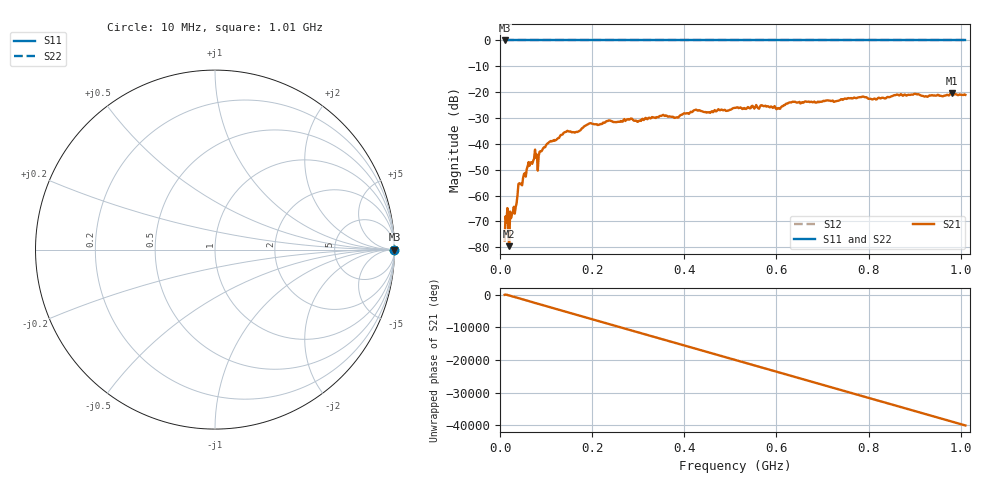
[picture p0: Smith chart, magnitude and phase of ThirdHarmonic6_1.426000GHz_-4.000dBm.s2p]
! 8/16/2025 4:25:00 PM
! C:\ANRITSUVNA\TEMP\TEMP.S2P
! CHANNEL.1
! TR.MEASUREMENT
! RAW.DATA
! RF.CORRECTION.OFF
! AVERAGING.OFF
! IF.BANDWIDTH: 5KHZ
! SWEEPTYPE:  FREQ.SWEEP(Linear)
! Reference Plane Port Info
! PORT:  PORT1  PORT2
! DISTANCE:  0  m  0  m
! TIME:  0  s  0  s
! PHASE.OFFSET:  0  deg.  0  deg.
! LOSS:  0  dB  0  dB
! REF.LOSS:  0  dB  0  dB
! REF.FREQ:  0  Hz  0  Hz
! Power Info
! POWER:  -20  dBm  -20  dBm
! EFF.POWER:  -20  dBm  -20  dBm
! SOURCE.ATTEN:  0  dB  0  dB
! TEST.ATTEN:  0  dB  0  dB
# GHZ S RI R 50.0
! FREQ.GHZ  S11RE  S11IM  S21RE  S21IM  S12RE  S12IM  S22RE  S22IM
!; PortSelection: Port_12
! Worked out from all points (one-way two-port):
!   501 points, 10 MHz to 1.01 GHz, reference 50 ohm
!   highest |S21| = -20.47 dB at 980 MHz (marker M1); lowest = -79.6 dB at 20 MHz (marker M2)
!   lowest |S11| = 0.0 dB at 10 MHz (marker M3)
!   |S11| at or under -10 dB: nowhere
!   |S22| runs from 0.0 to 0.0 dB; largest |S21 - S12| = 1.1
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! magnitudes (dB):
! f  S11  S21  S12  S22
! 10 MHz  0.0  -77.4  0.0  0.0
! 12 MHz  0.0  -68.0  0.0  0.0
! 20 MHz  0.0  -79.6  0.0  0.0
! 22 MHz  0.0  -66.2  0.0  0.0
! 26 MHz  0.0  -67.3  0.0  0.0
! 32 MHz  0.0  -67.0  0.0  0.0
! 42 MHz  0.0  -55.2  0.0  0.0
! 62 MHz  0.0  -47.1  0.0  0.0
! 76 MHz  0.0  -42.2  0.0  0.0
! 82 MHz  0.0  -50.4  0.0  0.0
! 104 MHz  0.0  -39.8  0.0  0.0
! 142 MHz  0.0  -35.4  0.0  0.0
! 178 MHz  0.0  -34.0  0.0  0.0
! 196 MHz  0.0  -32.0  0.0  0.0
! 344 MHz  0.0  -29.7  0.0  0.0
! 510 MHz  0.0  -26.1  0.0  0.0
! 604 MHz  0.0  -26.2  0.0  0.0
! 632 MHz  0.0  -24.0  0.0  0.0
! 678 MHz  0.0  -23.9  0.0  0.0
! 844 MHz  0.0  -22.0  0.0  0.0
! 980 MHz  0.0  -20.5  0.0  0.0
! 1.01 GHz  0.0  -21.1  0.0  0.0
